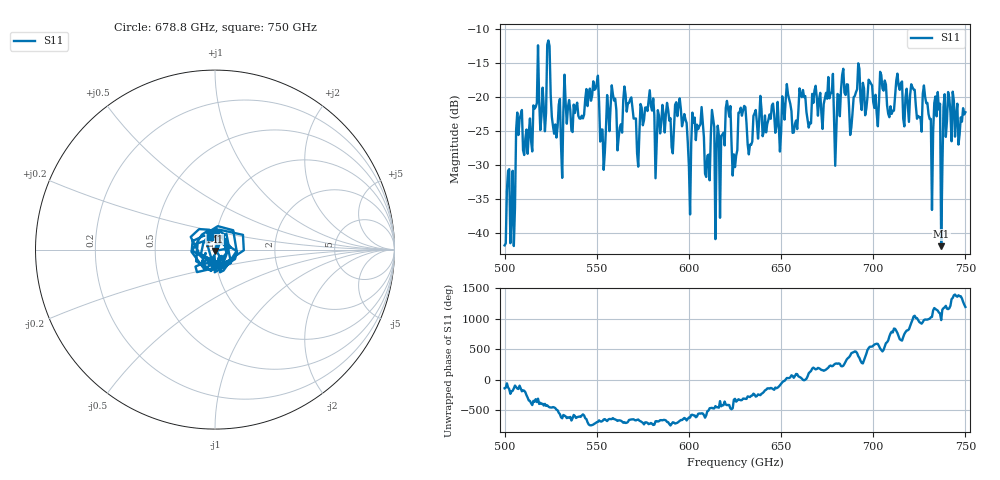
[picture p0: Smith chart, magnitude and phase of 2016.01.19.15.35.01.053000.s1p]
!Created with skrf (http://scikit-rf.org).
# GHz S RI R 50.0
!freq ReS11 ImS11
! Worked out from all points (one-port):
!   401 points, 500 GHz to 750 GHz, reference 50 ohm
!   lowest |S11| = -42.0 dB at 736.9 GHz (marker M1), VSWR 1.02, Z = 49.8 - j0.778 ohm
!   |S11| at or under -10 dB: start of sweep to end of sweep
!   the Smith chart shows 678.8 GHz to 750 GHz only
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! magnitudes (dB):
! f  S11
! 500 GHz  -41.8
! 504.4 GHz  -30.9
! 508.1 GHz  -23.3
! 513.8 GHz  -23.2
! 523.8 GHz  -11.7
! 526.9 GHz  -25.4
! 531.2 GHz  -31.9
! 549.4 GHz  -18.8
! 553.1 GHz  -24.8
! 558.8 GHz  -19.6
! 562.5 GHz  -24.5
! 565.6 GHz  -19.7
! 593.8 GHz  -22.8
! 600 GHz  -30.2
! 606.2 GHz  -24.1
! 615.6 GHz  -24.2
! 621.2 GHz  -21.8
! 625 GHz  -30.3
! 629.4 GHz  -22.0
! 633.1 GHz  -27.0
! 656.2 GHz  -25.3
! 687.5 GHz  -25.6
! 718.8 GHz  -21.2
! 728.1 GHz  -19.9
! 731.2 GHz  -23.3
! 735 GHz  -19.3
! 736.9 GHz  -42.0
! 750 GHz  -22.3
